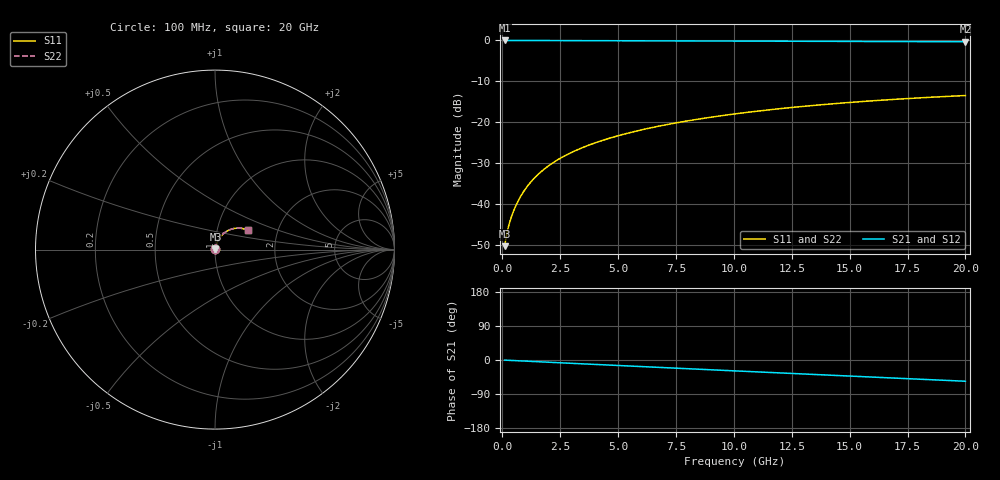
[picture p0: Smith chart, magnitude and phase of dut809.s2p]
! Touchstone file exported from HFSS 2026.1.0
!  File:  C:/ffzhzh/LocalFiles/Ansys_Project_Files/temp_train_TMRDL_809_1783156261_55132.aedt
!  Generated:  05:12:21 PM Jul  4, 2026
!  Design:  TMRDL
!  Project:  temp_train_TMRDL_809_1783156261_55132
! Variables:
!  h_bsmrdl = 2um
!  h_ox = 20um
!  h_rdl = 5um
!  h_sub = 80um
!  h_tmrdl = 5.64um
!  h_tsv = 80um
!  h_via = 3um
!  l_bsmrdl = 300um
!  l_sub = 1372.82um
!  l_tmrdl = 972.82um
!  m_sub = 200um
!  pitch = 42.81um
!  r_tsv = 6um
!  s_tmrdl = 10um
!  w_bsmrdl = 18um
!  w_sub = 500um
!  w_tmrdl = 29.9um
!  x_tsv_center1 = 987.77um
!  x_tsv_center2 = 1305.77um
!  x_tsv_center3 = 2308.49um
!  x_tsv_center4 = 2626.49um
!  x_tsv_center5 = 3629.21um
!  x_tsv_center6 = 3947.21um
# GHz S MA R 50.000000
! Terminal data exported
! Port[1] = TM_RDL1_1_T1
! Port[2] = TM_RDL1_1_T2
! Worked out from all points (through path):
!   200 points, 100 MHz to 20 GHz, reference 50 ohm
!   highest |S21| = -0.02 dB at 100 MHz (marker M1); lowest = -0.3 dB at 20 GHz (marker M2)
!   group delay of S21, straight-line fit = 7.76 ps
!   lowest |S11| = -50.2 dB at 100 MHz (marker M3), VSWR 1.01, Z = 50.2 + j0.193 ohm
!   |S11| at or under -10 dB: start of sweep to end of sweep
!   |S22| runs from -50.2 to -13.5 dB; largest |S21 - S12| = 7.4e-15
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0.1  0.003084 38.6  0.9976 -0.3  0.9976 -0.3  0.003084 38.6
! Gamma 0 0 0 0
! Port Impedance 50 0 50 0
0.2  0.004476 51.5  0.9973 -0.6  0.9973 -0.6  0.004476 51.5
0.3  0.0058 58.1  0.997 -0.9  0.997 -0.9  0.0058 58.1
0.4  0.007114 62.7  0.9969 -1.2  0.9969 -1.2  0.007114 62.7
0.5  0.008451 66.0  0.9968 -1.5  0.9968 -1.5  0.008451 66.0
0.6  0.009814 68.4  0.9967 -1.8  0.9967 -1.8  0.009814 68.4
0.8  0.0126 71.6  0.9965 -2.4  0.9965 -2.4  0.0126 71.6
1.1  0.01684 73.9  0.9962 -3.3  0.9962 -3.3  0.01684 73.9
1.3  0.01968 74.6  0.996 -3.9  0.996 -3.9  0.01968 74.6
1.6  0.02392 75.1  0.9955 -4.7  0.9955 -4.7  0.02392 75.1
2.1  0.03089 74.8  0.9948 -6.2  0.9948 -6.2  0.03089 74.8
2.7  0.03907 73.9  0.9937 -7.9  0.9937 -7.9  0.03907 73.9
3.5  0.04963 72.2  0.9922 -10.2  0.9922 -10.2  0.04963 72.2
4.2  0.05861 70.6  0.991 -12.3  0.991 -12.3  0.05861 70.6
5  0.0686 68.7  0.9895 -14.5  0.9895 -14.5  0.0686 68.7
5.9  0.07957 66.5  0.9879 -17.1  0.9879 -17.1  0.07957 66.5
6.8  0.09028 64.3  0.9863 -19.6  0.9863 -19.6  0.09028 64.3
8.4  0.1087 60.3  0.9834 -24.1  0.9834 -24.1  0.1087 60.3
10.1  0.1273 56.0  0.9802 -28.9  0.9802 -28.9  0.1273 56.0
13.4  0.1604 47.5  0.9739 -38.0  0.9739 -38.0  0.1604 47.5
16.7  0.1889 38.9  0.9677 -47.1  0.9677 -47.1  0.1889 38.9
20  0.2123 30.3  0.9621 -56.1  0.9621 -56.1  0.2123 30.3
